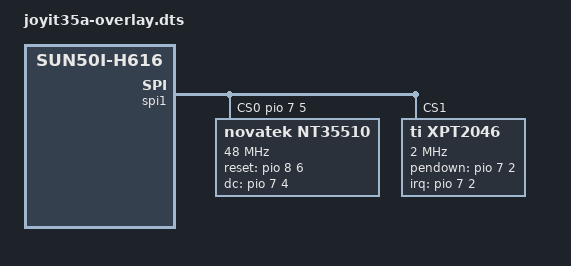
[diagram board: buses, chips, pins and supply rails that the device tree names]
/dts-v1/;
/plugin/;

/ {
    compatible = "allwinner,sun50i-h616";

    fragment@0 {
        target = <&spi1>;
        __overlay__ {
            status = "okay";
            cs-gpios = <&pio 7 5 0>; /*PH5=CS0 PH9=CS1*/

            nt35510: nt35510@1 {
                compatible = "novatek,nt35510";
                reg = <0>;
                pinctrl-names = "default";
                spi-max-frequency = <48000000>;
                rotation = <180>;
                bgr = <0>;
                fps = <30>;
                buswidth = <8>;
                reset-gpios = <&pio 8 6 0>; /* PI6 */
                dc-gpios = <&pio 7 4 0>; /* PH4 */
                debug = <0>;
                init = < /* NT35510 Initialization Sequence */
                    0x10000b0 0x00
                    0x1000011
                    0x20000ff
                    0x100003a 0x77 /* Pixel Format: 24 bits */
                    0x1000036 0x48 /* Memory Access Control */
                    0x10000c2 0x44
                    0x10000c5 0x00 0x00 0x00 0x00
                    0x1000011
                    0x1000029
                >;
            };

            xpt2046: xpt2046@0 {
                compatible = "ti,xpt2046";
                reg = <1>;
                pinctrl-names = "default";
                spi-max-frequency = <2000000>;
                interrupts = <7 2 1>; /* PH2 - IRQ */
                interrupt-parent = <&pio>;
                pendown-gpio = <&pio 7 2 0>; /* PH2 */

                /* OPTIONS */
                ti,keep-vref-on = <1>;
                ti,pressure-min = /bits/ 16 <10>;
                ti,pressure-max = /bits/ 16 <1000>;
                ti,debounce-rep = /bits/ 16 <1>;
                ti,debounce-tol = /bits/ 16 <2>;
                ti,debounce-max = /bits/ 16 <100>;
                ti,settle-delay-usec = /bits/ 16 <20>;
                ti,penirq-recheck-delay-usecs = /bits/ 16 <20>;
                ti,x-plate-ohms = /bits/ 16 <400>;
                ti,y-plate-ohms = /bits/ 16 <400>;
            };
        };
    };
};
